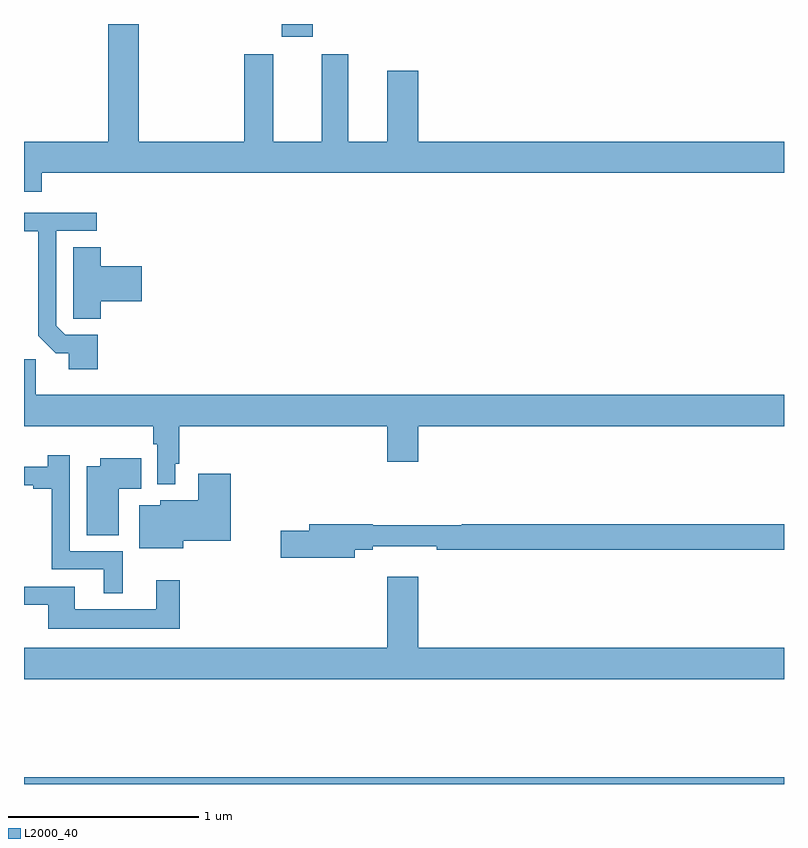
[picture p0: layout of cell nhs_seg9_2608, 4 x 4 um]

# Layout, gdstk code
import gdstk
lib = gdstk.Library(unit=1e-6, precision=1e-09)
def R(c, l, rs):  # rectangles x0, y0, x1, y1
    for r in rs: c.add(gdstk.rectangle(r[:2], r[2:], *l))
def P(c, l, *ps):  # polygons
    for p in ps: c.add(gdstk.Polygon(p, *l))
L2000_40 = (2000, 40)

nhs_seg9_2608 = lib.new_cell('nhs_seg9_2608')
R(nhs_seg9_2608, L2000_40, [(259,1230.5,263,1230.536), (260.357,1234.434,260.521,1234.5)])
P(nhs_seg9_2608, L2000_40, [(259.094,1233.716),(263,1233.716),(263,1233.88),(261.076,1233.88),(261.076,1234.255),(260.912,1234.255),(260.912,1233.88),(260.707,1233.88),(260.707,1234.342),(260.567,1234.342),(260.567,1233.88),(260.311,1233.88),(260.311,1234.342),(260.159,1234.342),(260.159,1233.88),(259.604,1233.88),(259.604,1234.5),(259.444,1234.5),(259.444,1233.88),(259,1233.88),(259,1233.617),(259.094,1233.617)],
  [(259.388,1232.865),(259.218,1232.865),(259.17,1232.913),(259.17,1233.411),(259.384,1233.411),(259.384,1233.507),(259,1233.507),(259,1233.41),(259.074,1233.41),(259.074,1232.859),(259.167,1232.767),(259.235,1232.767),(259.235,1232.682),(259.388,1232.682)],
  [(259.403,1233.041),(259.621,1233.041),(259.621,1233.224),(259.403,1233.224),(259.403,1233.326),(259.259,1233.326),(259.259,1233.058),(259.26,1233.058),(259.26,1232.95),(259.403,1232.95)],
  [(259.797,1232.185),(259.817,1232.185),(259.817,1232.384),(260.912,1232.384),(260.912,1232.196),(261.076,1232.196),(261.076,1232.384),(263,1232.384),(263,1232.548),(259.062,1232.548),(259.062,1232.736),(259,1232.736),(259,1232.384),(259.681,1232.384),(259.681,1232.288),(259.701,1232.288),(259.701,1232.078),(259.797,1232.078)],
  [(259.519,1231.725),(259.242,1231.725),(259.242,1232.23),(259.126,1232.23),(259.126,1232.171),(259,1232.171),(259,1232.073),(259.049,1232.073),(259.049,1232.053),(259.145,1232.053),(259.145,1231.629),(259.421,1231.629),(259.421,1231.505),(259.519,1231.505)],
  [(259.498,1232.054),(259.616,1232.054),(259.616,1232.215),(259.4,1232.215),(259.4,1232.173),(259.331,1232.173),(259.331,1231.81),(259.498,1231.81)],
  [(259.837,1231.781),(260.087,1231.781),(260.087,1232.134),(259.916,1232.134),(259.916,1231.993),(259.716,1231.993),(259.716,1231.966),(259.607,1231.966),(259.607,1231.742),(259.837,1231.742)],
  [(260.74,1231.732),(260.836,1231.732),(260.836,1231.751),(261.172,1231.751),(261.172,1231.732),(263,1231.732),(263,1231.868),(261.305,1231.868),(261.305,1231.861),(260.836,1231.861),(260.836,1231.868),(260.501,1231.868),(260.501,1231.832),(260.352,1231.832),(260.352,1231.69),(260.74,1231.69)],
  [(263,1231.216),(261.076,1231.216),(261.076,1231.591),(260.912,1231.591),(260.912,1231.216),(259,1231.216),(259,1231.052),(263,1231.052)],
  [(259.819,1231.573),(259.697,1231.573),(259.697,1231.42),(259.267,1231.42),(259.267,1231.539),(259,1231.539),(259,1231.443),(259.127,1231.443),(259.127,1231.316),(259.819,1231.316)])

lib.write_gds('nhs_seg9_2608.gds')
